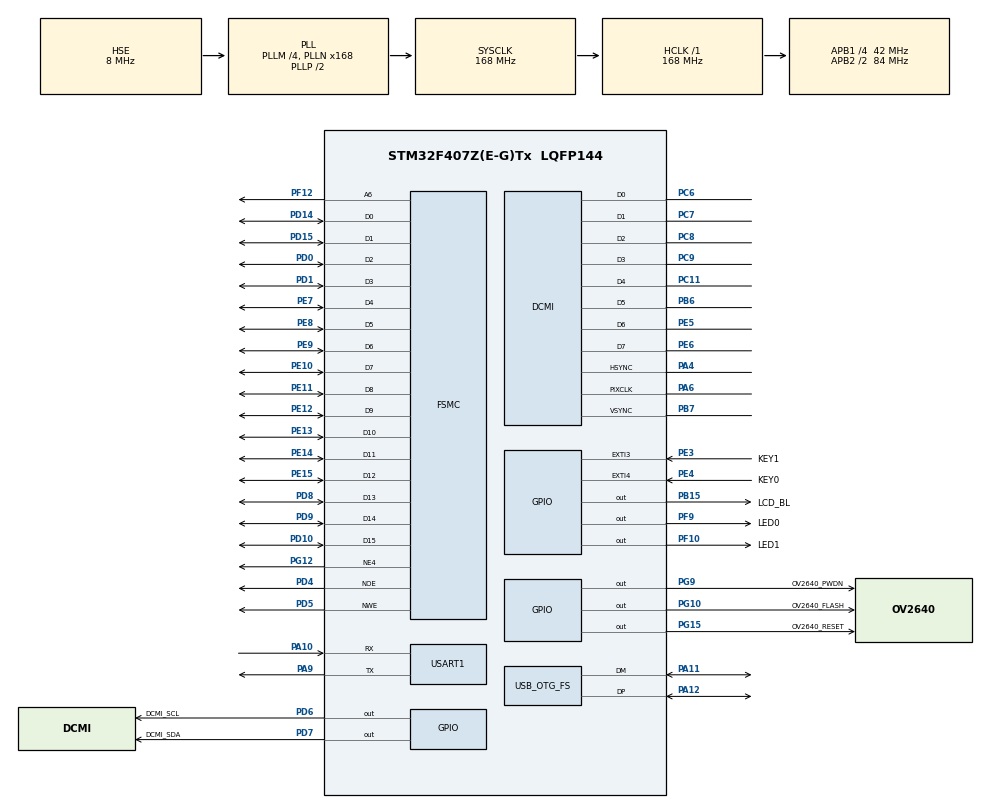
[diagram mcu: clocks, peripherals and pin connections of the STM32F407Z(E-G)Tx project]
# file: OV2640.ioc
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DCMI.JPEGMode=DCMI_JPEG_ENABLE
DCMI.PCKPolarity=DCMI_PCKPOLARITY_RISING
Dma.DCMI.0.Direction=DMA_PERIPH_TO_MEMORY
Dma.DCMI.0.FIFOMode=DMA_FIFOMODE_ENABLE
Dma.DCMI.0.FIFOThreshold=DMA_FIFO_THRESHOLD_HALFFULL
Dma.DCMI.0.Instance=DMA2_Stream1
Dma.DCMI.0.MemBurst=DMA_MBURST_SINGLE
Dma.DCMI.0.MemDataAlignment=DMA_MDATAALIGN_WORD
Dma.DCMI.0.MemInc=DMA_MINC_ENABLE
Dma.DCMI.0.Mode=DMA_CIRCULAR
Dma.DCMI.0.PeriphBurst=DMA_PBURST_SINGLE
Dma.DCMI.0.PeriphDataAlignment=DMA_PDATAALIGN_WORD
Dma.DCMI.0.PeriphInc=DMA_PINC_DISABLE
Dma.DCMI.0.Priority=DMA_PRIORITY_MEDIUM
Dma.Request0=DCMI
FSMC.BusTurnAroundDuration1=0
FSMC.DataSetupTime1=60
FSMC.ExtendedAddressSetupTime1=9
FSMC.ExtendedBusTurnAroundDuration1=0
FSMC.ExtendedDataSetupTime1=8
FSMC.ExtendedMode1=FSMC_EXTENDED_MODE_ENABLE
Mcu.Family=STM32F4
Mcu.Name=STM32F407Z(E-G)Tx
Mcu.Package=LQFP144
NVIC.DCMI_IRQn=true\:0\:0\:false\:false\:true\:true\:true\:true
NVIC.DMA2_Stream1_IRQn=true\:0\:0\:false\:false\:true\:false\:true\:true
NVIC.EXTI3_IRQn=true\:0\:0\:false\:false\:true\:true\:true\:true
NVIC.EXTI4_IRQn=true\:0\:0\:false\:false\:true\:true\:true\:true
NVIC.OTG_FS_IRQn=true\:0\:0\:false\:false\:true\:false\:true\:true
NVIC.PriorityGroup=NVIC_PRIORITYGROUP_4
PA10.Mode=Asynchronous
PA10.Signal=USART1_RX
PA11.Mode=Device_Only
PA11.Signal=USB_OTG_FS_DM
PA12.Mode=Device_Only
PA12.Signal=USB_OTG_FS_DP
PA13.Mode=Serial_Wire
PA13.Signal=SYS_JTMS-SWDIO
PA14.Mode=Serial_Wire
PA14.Signal=SYS_JTCK-SWCLK
PA4.GPIO_Mode=GPIO_MODE_AF_PP
PA4.GPIO_PuPd=GPIO_PULLUP
PA4.GPIO_Speed=GPIO_SPEED_FREQ_VERY_HIGH
PA4.Mode=Slave_8_bits_External_Synchro
PA4.Signal=DCMI_HSYNC
PA6.GPIO_Mode=GPIO_MODE_AF_PP
PA6.GPIO_PuPd=GPIO_PULLUP
PA6.GPIO_Speed=GPIO_SPEED_FREQ_VERY_HIGH
PA6.Mode=Slave_8_bits_External_Synchro
PA6.Signal=DCMI_PIXCLK
PA9.Mode=Asynchronous
PA9.Signal=USART1_TX
PB15.GPIO_Label=LCD_BL
PB15.GPIO_PuPd=GPIO_PULLUP
PB15.GPIO_Speed=GPIO_SPEED_FREQ_HIGH
PB15.Signal=GPIO_Output
PB6.GPIO_Mode=GPIO_MODE_AF_PP
PB6.GPIO_PuPd=GPIO_PULLUP
PB6.GPIO_Speed=GPIO_SPEED_FREQ_VERY_HIGH
PB6.Mode=Slave_8_bits_External_Synchro
PB6.Signal=DCMI_D5
PB7.GPIO_Mode=GPIO_MODE_AF_PP
PB7.GPIO_PuPd=GPIO_PULLUP
PB7.GPIO_Speed=GPIO_SPEED_FREQ_VERY_HIGH
PB7.Mode=Slave_8_bits_External_Synchro
PB7.Signal=DCMI_VSYNC
PC11.GPIO_Mode=GPIO_MODE_AF_PP
PC11.GPIO_PuPd=GPIO_PULLUP
PC11.GPIO_Speed=GPIO_SPEED_FREQ_VERY_HIGH
PC11.Mode=Slave_8_bits_External_Synchro
PC11.Signal=DCMI_D4
PC6.GPIO_Mode=GPIO_MODE_AF_PP
PC6.GPIO_PuPd=GPIO_PULLUP
PC6.GPIO_Speed=GPIO_SPEED_FREQ_VERY_HIGH
PC6.Mode=Slave_8_bits_External_Synchro
PC6.Signal=DCMI_D0
PC7.GPIO_Mode=GPIO_MODE_AF_PP
PC7.GPIO_PuPd=GPIO_PULLUP
PC7.GPIO_Speed=GPIO_SPEED_FREQ_VERY_HIGH
PC7.Mode=Slave_8_bits_External_Synchro
PC7.Signal=DCMI_D1
PC8.GPIO_Mode=GPIO_MODE_AF_PP
PC8.GPIO_PuPd=GPIO_PULLUP
PC8.GPIO_Speed=GPIO_SPEED_FREQ_VERY_HIGH
PC8.Mode=Slave_8_bits_External_Synchro
PC8.Signal=DCMI_D2
PC9.GPIO_Mode=GPIO_MODE_AF_PP
PC9.GPIO_PuPd=GPIO_PULLUP
PC9.GPIO_Speed=GPIO_SPEED_FREQ_VERY_HIGH
PC9.Mode=Slave_8_bits_External_Synchro
PC9.Signal=DCMI_D3
PD0.Signal=FSMC_D2_DA2
PD1.Signal=FSMC_D3_DA3
PD10.Signal=FSMC_D15_DA15
PD14.Signal=FSMC_D0_DA0
PD15.Signal=FSMC_D1_DA1
PD4.Signal=FSMC_NOE
PD5.Signal=FSMC_NWE
PD6.GPIO_Label=DCMI_SCL
PD6.GPIO_PuPd=GPIO_PULLUP
PD6.GPIO_Speed=GPIO_SPEED_FREQ_HIGH
PD6.PinState=GPIO_PIN_SET
PD6.Signal=GPIO_Output
PD7.GPIO_Label=DCMI_SDA
PD7.GPIO_ModeDefaultOutputPP=GPIO_MODE_OUTPUT_PP
PD7.GPIO_PuPd=GPIO_PULLUP
PD7.GPIO_Speed=GPIO_SPEED_FREQ_HIGH
PD7.PinState=GPIO_PIN_SET
PD7.Signal=GPIO_Output
PD8.Signal=FSMC_D13_DA13
PD9.Signal=FSMC_D14_DA14
PE10.Signal=FSMC_D7_DA7
PE11.Signal=FSMC_D8_DA8
PE12.Signal=FSMC_D9_DA9
PE13.Signal=FSMC_D10_DA10
PE14.Signal=FSMC_D11_DA11
PE15.Signal=FSMC_D12_DA12
PE3.GPIO_Label=KEY1
PE3.GPIO_ModeDefaultEXTI=GPIO_MODE_IT_FALLING
PE3.GPIO_PuPd=GPIO_PULLUP
PE3.Signal=GPXTI3
PE4.GPIO_Label=KEY0
PE4.GPIO_ModeDefaultEXTI=GPIO_MODE_IT_FALLING
PE4.GPIO_PuPd=GPIO_PULLUP
PE4.Signal=GPXTI4
PE5.GPIO_Mode=GPIO_MODE_AF_PP
PE5.GPIO_PuPd=GPIO_PULLUP
PE5.GPIO_Speed=GPIO_SPEED_FREQ_VERY_HIGH
PE5.Mode=Slave_8_bits_External_Synchro
PE5.Signal=DCMI_D6
PE6.GPIO_Mode=GPIO_MODE_AF_PP
PE6.GPIO_PuPd=GPIO_PULLUP
PE6.GPIO_Speed=GPIO_SPEED_FREQ_VERY_HIGH
PE6.Mode=Slave_8_bits_External_Synchro
PE6.Signal=DCMI_D7
PE7.Signal=FSMC_D4_DA4
PE8.Signal=FSMC_D5_DA5
PE9.Signal=FSMC_D6_DA6
PF10.GPIO_Label=LED1
PF10.GPIO_ModeDefaultOutputPP=GPIO_MODE_OUTPUT_OD
PF10.GPIO_PuPd=GPIO_NOPULL
PF10.PinState=GPIO_PIN_SET
PF10.Signal=GPIO_Output
PF12.Signal=FSMC_A6
PF9.GPIO_Label=LED0
PF9.GPIO_ModeDefaultOutputPP=GPIO_MODE_OUTPUT_OD
PF9.GPIO_PuPd=GPIO_NOPULL
PF9.PinState=GPIO_PIN_RESET
PF9.Signal=GPIO_Output
PG10.GPIO_Label=OV2640_FLASH
PG10.PinState=GPIO_PIN_RESET
PG10.Signal=GPIO_Output
PG12.Mode=NorPsramChipSelect4_1
PG12.Signal=FSMC_NE4
PG15.GPIO_Label=OV2640_RESET
PG15.GPIO_ModeDefaultOutputPP=GPIO_MODE_OUTPUT_PP
PG15.GPIO_PuPd=GPIO_PULLUP
PG15.GPIO_Speed=GPIO_SPEED_FREQ_HIGH
PG15.PinState=GPIO_PIN_SET
PG15.Signal=GPIO_Output
PG9.GPIO_Label=OV2640_PWDN
PG9.GPIO_ModeDefaultOutputPP=GPIO_MODE_OUTPUT_PP
PG9.GPIO_PuPd=GPIO_PULLUP
PG9.GPIO_Speed=GPIO_SPEED_FREQ_HIGH
PG9.PinState=GPIO_PIN_SET
PG9.Signal=GPIO_Output
PH0-OSC_IN.Mode=HSE-External-Oscillator
PH0-OSC_IN.Signal=RCC_OSC_IN
PH1-OSC_OUT.Mode=HSE-External-Oscillator
PH1-OSC_OUT.Signal=RCC_OSC_OUT
ProjectManager.HeapSize=0x200
ProjectManager.StackSize=0x400
ProjectManager.TargetToolchain=CMake
RCC.48MHZClocksFreq_Value=48000000
RCC.AHBFreq_Value=168000000
RCC.APB1CLKDivider=RCC_HCLK_DIV4
RCC.APB1Freq_Value=42000000
RCC.APB1TimFreq_Value=84000000
RCC.APB2CLKDivider=RCC_HCLK_DIV2
RCC.APB2Freq_Value=84000000
RCC.APB2TimFreq_Value=168000000
RCC.CortexFreq_Value=168000000
RCC.HCLKFreq_Value=168000000
RCC.HSE_VALUE=8000000
RCC.HSI_VALUE=16000000
RCC.LSE_VALUE=32768
RCC.PLLM=4
RCC.PLLN=168
RCC.PLLQ=7
RCC.SYSCLKFreq_VALUE=168000000
RCC.SYSCLKSource=RCC_SYSCLKSOURCE_PLLCLK
RCC.VCOOutputFreq_Value=336000000
SH.FSMC_A6.0=FSMC_A6,A6_1
SH.FSMC_D0_DA0.0=FSMC_D0,16b-d1
SH.FSMC_D10_DA10.0=FSMC_D10,16b-d1
SH.FSMC_D11_DA11.0=FSMC_D11,16b-d1
SH.FSMC_D12_DA12.0=FSMC_D12,16b-d1
SH.FSMC_D13_DA13.0=FSMC_D13,16b-d1
SH.FSMC_D14_DA14.0=FSMC_D14,16b-d1
SH.FSMC_D15_DA15.0=FSMC_D15,16b-d1
SH.FSMC_D1_DA1.0=FSMC_D1,16b-d1
SH.FSMC_D2_DA2.0=FSMC_D2,16b-d1
SH.FSMC_D3_DA3.0=FSMC_D3,16b-d1
SH.FSMC_D4_DA4.0=FSMC_D4,16b-d1
SH.FSMC_D5_DA5.0=FSMC_D5,16b-d1
SH.FSMC_D6_DA6.0=FSMC_D6,16b-d1
SH.FSMC_D7_DA7.0=FSMC_D7,16b-d1
SH.FSMC_D8_DA8.0=FSMC_D8,16b-d1
SH.FSMC_D9_DA9.0=FSMC_D9,16b-d1
SH.FSMC_NOE.0=FSMC_NOE,Lcd1
SH.FSMC_NWE.0=FSMC_NWE,Lcd1
TIM7.Period=1
TIM7.Prescaler=84-1
USART1.VirtualMode=VM_ASYNC
USB_DEVICE.CLASS_NAME_FS=CDC
USB_DEVICE.VirtualMode-CDC_FS=Cdc
USB_DEVICE.VirtualModeFS=Cdc_FS
USB_OTG_FS.VirtualMode=Device_Only
VP_TIM7_VS_ClockSourceINT.Mode=Enable_Timer
VP_USB_DEVICE_VS_USB_DEVICE_CDC_FS.Mode=CDC_FS
board=custom

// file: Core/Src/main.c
/* USER CODE BEGIN Header */
/**
  ******************************************************************************
  * @file           : main.c
  * @brief          : Main program body
  ******************************************************************************
  * @attention
  *
  * <h2><center>&copy; Copyright (c) 2021 STMicroelectronics.
  * All rights reserved.</center></h2>
  *
  * This software component is licensed by ST under BSD 3-Clause license,
  * the "License"; You may not use this file except in compliance with the
  * License. You may obtain a copy of the License at:
  *                        opensource.org/licenses/BSD-3-Clause
  *
  ******************************************************************************
  */
/* USER CODE END Header */
#include "main.h"
#include "dcmi.h"
#include "dma.h"
#include "tim.h"
#include "usart.h"
#include "usb_device.h"
#include "gpio.h"
#include "fsmc.h"

/* USER CODE BEGIN Includes */
#include "ov2640.h"
#include "ILI93xx.h"
#include "uvc_app.h"
#include "tjpgd.h"
#include <stdio.h>
#include <string.h>
/* USER CODE END Includes */

/* USER CODE BEGIN PTD */

/* TJpgDec相关结构和变量 */
typedef struct {
    uint8_t *jpeg_data;
    uint32_t jpeg_size;
    uint32_t current_pos;
    uint16_t display_width;
    uint16_t display_height;
    uint16_t x_offset;
    uint16_t y_offset;
} JPEG_Decode_Context;

/* USER CODE END PTD */

/* USER CODE BEGIN PV */
uint8_t Show_LCDWord[64];//用于存储准备在LCD上显示的字符串
char USB_Buffer[100];
_lcd_dev tftlcd_data;
// 外部声明DMA句柄，避免重复定义
extern DMA_HandleTypeDef hdma_dcmi_main;

// 外部声明UVC应用状态
extern UVC_AppTypeDef uvc_app;

#pragma region ov2640_State_PV
uint8_t ov2640_mode=0;
volatile uint32_t jpeg_data_len=0; 			//buf中的JPEG有效数据长度
volatile uint8_t jpeg_data_ok=0;				//JPEG数据采集完成标志
														//0,数据没有采集完;
														//1,数据采集完了,但是还没处理;
														//2,数据已经处理完成了,可以开始下一帧接收

// 使用dcmi.c中的缓冲区，避免重复定义
extern uint8_t jpeg_buf1[40*1024];
extern uint8_t jpeg_buf2[40*1024];
extern uint8_t *capture_buf;
extern uint8_t *process_buf;

// 定义jpeg_buf指向capture_buf，保持兼容性
extern uint8_t *jpeg_buf;

// 功能控制标志位
volatile uint8_t jpeg_decode_enabled = 1;  // JPEG解码开关 (1:开启, 0:关闭)
volatile uint8_t uvc_transfer_enabled = 1; // UVC传输开关 (1:开启, 0:关闭)
#pragma region end
/* USER CODE END PV */

void SystemClock_Config(void);
/* USER CODE BEGIN PFP */
//重写fputc函数，目的是让printf函数能顺利运行
int fputc(int c, FILE *stream)
{
 /*
    huart1是工具生成代码定义的UART1结构体，
    如果以后要使用其他串口打印，只需要把这个结构体改成其他UART结构体。
*/
    HAL_UART_Transmit(&huart1, (unsigned char *)&c, 1, 1000);
    return 1;
}

//重写__io_putchar函数，目的是让syscalls.c中的_write函数能正常工作
int __io_putchar(int ch)
{
    HAL_UART_Transmit(&huart1, (unsigned char *)&ch, 1, 1000);
    return ch;
}
/* USER CODE END PFP */

/* USER CODE BEGIN 0 */
// 外部声明改进的双缓冲变量
extern uint8_t jpeg_buf1[40*1024];
extern uint8_t jpeg_buf2[40*1024];
extern uint8_t *capture_buf;
extern uint8_t *process_buf;
extern volatile uint8_t buffer_ready;

// DCMI JPEG捕获完成回调
void HAL_DCMI_FrameEventCallback(DCMI_HandleTypeDef *hdcmi_handle)
{
    // 停止DCMI捕获，避免数据覆盖
    HAL_DCMI_Stop(&hdcmi);

    // 获取实际传输的数据长度
    uint32_t total_words = (40*1024) / 4;  // 总字数 (10240)
    uint32_t remaining = __HAL_DMA_GET_COUNTER(&hdma_dcmi_main);  // 剩余字数
    uint32_t transferred_words = total_words - remaining;  // 已传输的字数
    jpeg_data_len = transferred_words * 4;  // 转换为字节数

    // 验证JPEG数据有效性
    if (jpeg_data_len > 100 && jpeg_data_len < (40*1024)) {
        // 检查JPEG头部标记 (0xFFD8)
        if (capture_buf[0] == 0xFF && capture_buf[1] == 0xD8) {
            // 数据有效，标记为就绪
            jpeg_data_ok = 1;
            buffer_ready = 1;

            // 复制数据到jpeg_buf，保持兼容性
            memcpy(jpeg_buf, capture_buf, jpeg_data_len);

        } else {
            // 即使JPEG头无效，也标记为数据就绪，尝试传输
            jpeg_data_ok = 1;
            buffer_ready = 1;
        }
    } else {
        // 尝试强制处理，即使长度为0
        if (remaining < total_words) {
            jpeg_data_ok = 1;
            buffer_ready = 1;
        }
    }

    // 切换缓冲区
    uint8_t *temp = capture_buf;
    capture_buf = process_buf;
    process_buf = temp;

    HAL_GPIO_TogglePin(LED1_GPIO_Port, LED1_Pin);
}

// DCMI VSYNC回调（可选）
void HAL_DCMI_VsyncEventCallback(DCMI_HandleTypeDef *hdcmi)
{
    // VSYNC事件处理
}

void HAL_GPIO_EXTI_Callback(uint16_t GPIO_Pin)
{
	switch(GPIO_Pin)
	{
		case KEY0_Pin:
			// 切换JPEG解码开关
			jpeg_decode_enabled = !jpeg_decode_enabled;

			// 更新LED状态
			if (jpeg_decode_enabled) {
				LED0_GPIO_Port->BSRR = (uint32_t)LED0_Pin << 16U; // LED0亮
			} else {
				LED0_GPIO_Port->BSRR = (uint32_t)LED0_Pin; // LED0灭
			}

			// 在屏幕上显示状态
			LCD_ShowString(30, 110, 240, 16, 16, "                    ");
			if (jpeg_decode_enabled) {
				LCD_ShowString(30, 110, 240, 16, 16, "JPEG: Enabled");
			} else {
				LCD_ShowString(30, 110, 240, 16, 16, "JPEG: Disabled");
			}

			break;

		case KEY1_Pin:
			// 切换UVC传输开关
			uvc_transfer_enabled = !uvc_transfer_enabled;

			// 更新LED状态
			if (uvc_transfer_enabled) {
				LED1_GPIO_Port->BSRR = (uint32_t)LED1_Pin; // LED1亮
			} else {
				LED1_GPIO_Port->BSRR = (uint32_t)LED1_Pin << 16U; // LED1灭
			}

			// 在屏幕上显示状态
			LCD_ShowString(30, 130, 240, 16, 16, "                    ");
			if (uvc_transfer_enabled) {
				LCD_ShowString(30, 130, 240, 16, 16, "UVC: Enabled");
			} else {
				LCD_ShowString(30, 130, 240, 16, 16, "UVC: Disabled");
			}

			break;

		default:
			break;
	}

	// 更新组合状态显示
	LCD_ShowString(30, 150, 240, 16, 16, "                    ");
	if (jpeg_decode_enabled && uvc_transfer_enabled) {
		LCD_ShowString(30, 150, 240, 16, 16, "Mode: Both Enabled");
	} else if (jpeg_decode_enabled && !uvc_transfer_enabled) {
		LCD_ShowString(30, 150, 240, 16, 16, "Mode: JPEG Only");
	} else if (!jpeg_decode_enabled && uvc_transfer_enabled) {
		LCD_ShowString(30, 150, 240, 16, 16, "Mode: UVC Only");
	} else {
		LCD_ShowString(30, 150, 240, 16, 16, "Mode: Both Disabled");
	}
}

/* USER CODE END 0 */

int main(void)
{

  /* MCU Configuration--------------------------------------------------------*/

  /* Reset of all peripherals, Initializes the Flash interface and the Systick. */
  HAL_Init();

  /* Configure the system clock */
  SystemClock_Config();

  /* Initialize all configured peripherals */
  MX_GPIO_Init();
  MX_DMA_Init();
  MX_DCMI_Init();
  MX_TIM7_Init();
  MX_FSMC_Init();
  MX_USART1_UART_Init();
  MX_USB_DEVICE_Init();
  /* USER CODE BEGIN 2 */
  // 使用HAL_UART直接发送，绕过printf缓冲区
  char debug_msg[100];

  sprintf(debug_msg, "\r\n=== System Starting ===\r\n");
  HAL_UART_Transmit(&huart1, (uint8_t*)debug_msg, strlen(debug_msg), 1000);

  TFTLCD_Init(LCD_DIR_270);	//初始化LCD
  LCD_Clear(WHITE);	//初始化后清屏并显示白屏
  LCD_ShowString(30,40,210,24,24,"UVC Camera System");
  LCD_ShowString(30,70,210,16,16,"Initializing...");

  sprintf(debug_msg, "LCD: OK\r\n");
  HAL_UART_Transmit(&huart1, (uint8_t*)debug_msg, strlen(debug_msg), 1000);

  // 初始化OV2640
  sprintf(debug_msg, "Initializing OV2640...\r\n");
  HAL_UART_Transmit(&huart1, (uint8_t*)debug_msg, strlen(debug_msg), 1000);

  while(OV2640_Init())
  {
    LCD_ShowString(30,100,240,16,16,"OV2640 ERR");
    HAL_Delay(200);
    LCD_Fill(30,100,239,140,WHITE);
    HAL_Delay(200);
  }
  LCD_ShowString(30,100,200,16,16,"OV2640 OK");

  sprintf(debug_msg, "OV2640: Init Complete\r\n");
  HAL_UART_Transmit(&huart1, (uint8_t*)debug_msg, strlen(debug_msg), 1000);
  HAL_GPIO_TogglePin(LED0_GPIO_Port, LED0_Pin);  // LED0闪烁表示OV2640 OK

  // 配置OV2640为JPEG模式，320x240分辨率
  sprintf(debug_msg, "Configuring JPEG mode...\r\n");
  HAL_UART_Transmit(&huart1, (uint8_t*)debug_msg, strlen(debug_msg), 1000);

  // 详细配置OV2640
  printf("OV2640: Setting JPEG mode\r\n");
  OV2640_JPEG_Mode();

  // 设置最高JPEG画质
  printf("OV2640: Setting highest quality JPEG\r\n");

  HAL_GPIO_TogglePin(LED0_GPIO_Port, LED0_Pin);

  printf("OV2640: Setting output size 1280x720 (720p)\r\n");
  OV2640_OutSize_Set(320, 240);
  OV2640_Set_JPEG_Quality(10);  // 10级最高画质，减少方块感
  OV2640_Auto_Exposure(2);
  OV2640_Brightness(2);
  OV2640_Light_Mode(2);
  OV2640_Contrast(0);

  HAL_GPIO_TogglePin(LED0_GPIO_Port, LED0_Pin);

  // 确保输出格式正确
  printf("OV2640: Verifying configuration\r\n");

  LCD_ShowString(30,120,200,16,16,"JPEG Mode: 320x240");

  sprintf(debug_msg, "JPEG: Configured\r\n");
  HAL_UART_Transmit(&huart1, (uint8_t*)debug_msg, strlen(debug_msg), 1000);

  // 等待OV2640稳定
  printf("OV2640: Waiting for stability\r\n");
  HAL_Delay(500);

  // 初始化UVC应用
  sprintf(debug_msg, "Initializing UVC App...\r\n");
  HAL_UART_Transmit(&huart1, (uint8_t*)debug_msg, strlen(debug_msg), 1000);

  UVC_App_Init();
  HAL_GPIO_TogglePin(LED0_GPIO_Port, LED0_Pin);

  sprintf(debug_msg, "UVC App: Initialized\r\n");
  HAL_UART_Transmit(&huart1, (uint8_t*)debug_msg, strlen(debug_msg), 1000);
  LCD_ShowString(30,140,200,16,16,"UVC Ready");
  LCD_ShowString(30,160,200,16,16,"USB Streaming Only");
  LCD_ShowString(30,180,200,16,16,"View on PC");

  // 启动视频采集
  sprintf(debug_msg, "Starting video capture...\r\n");
  HAL_UART_Transmit(&huart1, (uint8_t*)debug_msg, strlen(debug_msg), 1000);

  UVC_App_StartCapture();
  HAL_GPIO_TogglePin(LED0_GPIO_Port, LED0_Pin);

  sprintf(debug_msg, "Capture: Started\r\n");
  HAL_UART_Transmit(&huart1, (uint8_t*)debug_msg, strlen(debug_msg), 1000);

  HAL_GPIO_WritePin(LED1_GPIO_Port, LED1_Pin, GPIO_PIN_SET);

  // 等待并检查状态
  HAL_Delay(500);

  sprintf(debug_msg, "\r\n=== System Ready ===\r\n");
  HAL_UART_Transmit(&huart1, (uint8_t*)debug_msg, strlen(debug_msg), 1000);

  sprintf(debug_msg, "jpeg_data_ok=%d, len=%lu\r\n", jpeg_data_ok, jpeg_data_len);
  HAL_UART_Transmit(&huart1, (uint8_t*)debug_msg, strlen(debug_msg), 1000);

  sprintf(debug_msg, "Entering main loop...\r\n\r\n");
  HAL_UART_Transmit(&huart1, (uint8_t*)debug_msg, strlen(debug_msg), 1000);
  /* USER CODE END 2 */

  /* Infinite loop */
  /* USER CODE BEGIN WHILE */
  uint32_t last_status_print = 0;
  uint8_t loop_started = 0;

  // 用于屏幕显示的变量
  static uint32_t last_display_update = 0;
  static uint8_t display_enabled = 0;

  while (1)
  {
    // 首次进入循环时打印
    if (!loop_started) {
      sprintf(debug_msg, "Main loop running...\r\n");
      HAL_UART_Transmit(&huart1, (uint8_t*)debug_msg, strlen(debug_msg), 1000);
      loop_started = 1;

      // 启用屏幕显示
      display_enabled = 1;

      // 初始化LED状态
      if (jpeg_decode_enabled) {
        LED0_GPIO_Port->BSRR = (uint32_t)LED0_Pin << 16U; // LED0亮
      } else {
        LED0_GPIO_Port->BSRR = (uint32_t)LED0_Pin; // LED0灭
      }

      if (uvc_transfer_enabled) {
        LED1_GPIO_Port->BSRR = (uint32_t)LED1_Pin; // LED1亮
      } else {
        LED1_GPIO_Port->BSRR = (uint32_t)LED1_Pin << 16U; // LED1灭
      }

      // 显示初始状态
      LCD_ShowString(30, 110, 240, 16, 16, "                    ");
      if (jpeg_decode_enabled) {
        LCD_ShowString(30, 110, 240, 16, 16, "JPEG: Enabled");
      } else {
        LCD_ShowString(30, 110, 240, 16, 16, "JPEG: Disabled");
      }

      LCD_ShowString(30, 130, 240, 16, 16, "                    ");
      if (uvc_transfer_enabled) {
        LCD_ShowString(30, 130, 240, 16, 16, "UVC: Enabled");
      } else {
        LCD_ShowString(30, 130, 240, 16, 16, "UVC: Disabled");
      }

      LCD_ShowString(30, 150, 240, 16, 16, "                    ");
      if (jpeg_decode_enabled && uvc_transfer_enabled) {
        LCD_ShowString(30, 150, 240, 16, 16, "Mode: Both Enabled");
      } else if (jpeg_decode_enabled && !uvc_transfer_enabled) {
        LCD_ShowString(30, 150, 240, 16, 16, "Mode: JPEG Only");
      } else if (!jpeg_decode_enabled && uvc_transfer_enabled) {
        LCD_ShowString(30, 150, 240, 16, 16, "Mode: UVC Only");
      } else {
        LCD_ShowString(30, 150, 240, 16, 16, "Mode: Both Disabled");
      }
    }

    // 处理UVC应用状态机（优先处理，确保UVC不卡）
    if (uvc_transfer_enabled) {
        UVC_App_Process();
    }

    // 每2秒打印一次状态
    if (HAL_GetTick() - last_status_print >= 2000) {
      last_status_print = HAL_GetTick();

      sprintf(debug_msg, "[%lu] ok=%d, len=%lu, state=%d\r\n",
              HAL_GetTick()/1000, jpeg_data_ok, jpeg_data_len, uvc_app.state);
      HAL_UART_Transmit(&huart1, (uint8_t*)debug_msg, strlen(debug_msg), 1000);
    }

    // 屏幕显示摄像头图像（低优先级，允许卡顿）
    if (display_enabled && jpeg_decode_enabled && jpeg_data_ok == 2 && jpeg_data_len > 100) {
      // 每2帧解码一次，平衡刷新速度和性能
      static uint8_t decode_counter = 0;
      if (decode_counter % 2 == 0) {
        decode_counter = 0;

        // 尝试解码JPEG并显示
        // 使用TJpgDec库解码JPEG，直接输出到LCD显存
        uint16_t display_width = 0;
        uint16_t display_height = 0;

        // 检查JPEG头
        if (jpeg_data_len >= 2 && jpeg_buf[0] == 0xFF && jpeg_buf[1] == 0xD8) {
            // 使用TJpgDec解码JPEG（直接输出到LCD显存）
            int decode_result = JPEG_Decode_Using_TJpgDec(jpeg_buf, jpeg_data_len,
                                                       &display_width, &display_height);

            if (decode_result == 0) {

            } else {
              // 解码失败
              printf("Display: JPEG decode failed\r\n");
            }
        } else {
          printf("Display: Invalid JPEG data\r\n");
        }
      }
      decode_counter++;
    }

    // 简单的延时，避免CPU占用过高
    HAL_Delay(1);

    /* USER CODE END WHILE */

  }
}

void SystemClock_Config(void)
{
  RCC_OscInitTypeDef RCC_OscInitStruct = {0};
  RCC_ClkInitTypeDef RCC_ClkInitStruct = {0};

  /** Configure the main internal regulator output voltage
  */
  __HAL_RCC_PWR_CLK_ENABLE();
  __HAL_PWR_VOLTAGESCALING_CONFIG(PWR_REGULATOR_VOLTAGE_SCALE1);

  /** Initializes the RCC Oscillators according to the specified parameters
  * in the RCC_OscInitTypeDef structure.
  */
  RCC_OscInitStruct.OscillatorType = RCC_OSCILLATORTYPE_HSE;
  RCC_OscInitStruct.HSEState = RCC_HSE_ON;
  RCC_OscInitStruct.PLL.PLLState = RCC_PLL_ON;
  RCC_OscInitStruct.PLL.PLLSource = RCC_PLLSOURCE_HSE;
  RCC_OscInitStruct.PLL.PLLM = 4;
  RCC_OscInitStruct.PLL.PLLN = 168;
  RCC_OscInitStruct.PLL.PLLP = RCC_PLLP_DIV2;
  RCC_OscInitStruct.PLL.PLLQ = 7;
  if (HAL_RCC_OscConfig(&RCC_OscInitStruct) != HAL_OK)
  {
    Error_Handler();
  }

  /** Initializes the CPU, AHB and APB buses clocks
  */
  RCC_ClkInitStruct.ClockType = RCC_CLOCKTYPE_HCLK|RCC_CLOCKTYPE_SYSCLK
                              |RCC_CLOCKTYPE_PCLK1|RCC_CLOCKTYPE_PCLK2;
  RCC_ClkInitStruct.SYSCLKSource = RCC_SYSCLKSOURCE_PLLCLK;
  RCC_ClkInitStruct.AHBCLKDivider = RCC_SYSCLK_DIV1;
  RCC_ClkInitStruct.APB1CLKDivider = RCC_HCLK_DIV4;
  RCC_ClkInitStruct.APB2CLKDivider = RCC_HCLK_DIV2;

  if (HAL_RCC_ClockConfig(&RCC_ClkInitStruct, FLASH_LATENCY_5) != HAL_OK)
  {
    Error_Handler();
  }
}

/* USER CODE BEGIN 4 */

/* TJpgDec输入函数 */
static uint16_t jpeg_input_func(JDEC *jdec, uint8_t *buf, uint16_t len) {
    // 使用实际的jpeg_buf数据
    extern uint8_t *jpeg_buf;
    extern volatile uint32_t jpeg_data_len;

    // 使用设备指针存储当前位置
    JPEG_Decode_Context *ctx = (JPEG_Decode_Context *)jdec->device;

    // 检查参数有效性
    if (jdec == NULL || ctx == NULL || jpeg_buf == NULL || jpeg_data_len == 0) {
        return 0;
    }

    if (buf == NULL) {
        // NULL缓冲区表示跳过len字节
        ctx->current_pos += len;
        if (ctx->current_pos > jpeg_data_len) {
            ctx->current_pos = jpeg_data_len;
        }
        return len;
    }

    if (len == 0) {
        // 重置位置（开始新的解码）
        ctx->current_pos = 0;
        return 0;
    }

    // 计算可读取的字节数
    uint32_t remaining = jpeg_data_len - ctx->current_pos;
    if (remaining == 0) {
        return 0;
    }

    // 计算实际读取的字节数
    uint16_t actual_len = len;
    if (actual_len > remaining) {
        actual_len = remaining;
    }

    // 检查内存访问是否安全
    if (ctx->current_pos + actual_len > jpeg_data_len) {
        actual_len = jpeg_data_len - ctx->current_pos;
    }

    // 复制数据
    memcpy(buf, jpeg_buf + ctx->current_pos, actual_len);

    // 更新位置
    ctx->current_pos += actual_len;

    return actual_len;
}

/* TJpgDec输出函数 - 直接输出到LCD显存 */
static uint16_t jpeg_output_func(JDEC *jdec, void *bitmap, JRECT *rect) {
    JPEG_Decode_Context *ctx = (JPEG_Decode_Context *)jdec->device;
    uint8_t *src = (uint8_t *)bitmap;
    int x, y;

    // 设置LCD窗口到当前解码区域
    LCD_Set_Window(ctx->x_offset + rect->left, ctx->y_offset + rect->top,
                  rect->right - rect->left + 1, rect->bottom - rect->top + 1);
    LCD_WriteRAM_Prepare();

    // 直接将RGB565数据写入LCD显存
    for (y = rect->top; y <= rect->bottom; y++) {
        for (x = rect->left; x <= rect->right; x++) {
            // TJpgDec输出为RGB565格式
            LCD_WriteRAM(*((uint16_t *)src));
            src += 2;
        }
    }

    return 1; // 继续解码
}

/* 使用TJpgDec解码JPEG */
// 使用静态缓冲区避免栈溢出，增加大小以解决内存不足问题
static uint8_t jpeg_work_buf[8192]; // 静态工作缓冲区，分配在全局内存中（足够满足320x240解码需求）

int JPEG_Decode_Using_TJpgDec(uint8_t *jpeg_data, uint32_t jpeg_size,
                             uint16_t *width, uint16_t *height) {
    JDEC jdec;
    JPEG_Decode_Context ctx;
    JRESULT result;

    // 检查输入数据
    if (jpeg_data == NULL || jpeg_size < 10) {
        printf("JPEG: Error: Invalid input data\r\n");
        return -1;
    }

    // 检查JPEG头
    if (jpeg_data[0] != 0xFF || jpeg_data[1] != 0xD8) {
        printf("JPEG: Error: Invalid JPEG header (found 0x%02X%02X)\r\n", jpeg_data[0], jpeg_data[1]);
        return -1;
    }

    // 检查数据大小，避免过大
    if (jpeg_size > 30*1024) {
        printf("JPEG: Error: Data too large\r\n");
        return -1;
    }

    // 初始化上下文
    ctx.jpeg_data = jpeg_data;
    ctx.jpeg_size = jpeg_size;
    ctx.current_pos = 0;
    ctx.x_offset = 0;
    ctx.y_offset = 0;

    // 准备解码
    //printf("JPEG: Preparing decode, size=%lu bytes\r\n", jpeg_size);
    result = jd_prepare(&jdec, jpeg_input_func, jpeg_work_buf, sizeof(jpeg_work_buf), &ctx);
    if (result != JDR_OK) {
        //printf("JPEG: Prepare failed: %d\r\n", result);
        switch(result) {
            case JDR_INP: printf("JPEG: Error: Invalid input stream\r\n"); break;
            case JDR_MEM1: printf("JPEG: Error: Insufficient memory\r\n"); break;
            case JDR_MEM2: printf("JPEG: Error: Insufficient input buffer\r\n"); break;
            case JDR_PAR: printf("JPEG: Error: Parameter error\r\n"); break;
            case JDR_FMT1: printf("JPEG: Error: Data format error\r\n"); break;
            case JDR_FMT2: printf("JPEG: Error: Unsupported format\r\n"); break;
            case JDR_FMT3: printf("JPEG: Error: Not supported JPEG standard\r\n"); break;
        }
        return -1;
    }

    // 更新图像尺寸
    *width = jdec.width;
    *height = jdec.height;
    //printf("JPEG: Image size: %dx%d\r\n", *width, *height);

    // 检查图像尺寸，避免过大
    if (*width > 1280 || *height > 720) {
        printf("JPEG: Error: Image too large\r\n");
        return -1;
    }

    // 开始解码
    //printf("JPEG: Starting decode\r\n");
    result = jd_decomp(&jdec, jpeg_output_func, 0);
    if (result != JDR_OK) {
        printf("JPEG: Decode failed: %d\r\n", result);
        return -1;
    }

    //printf("JPEG: Decode successful\r\n");
    return 0;
}

/* USER CODE END 4 */

void Error_Handler(void)
{
}
